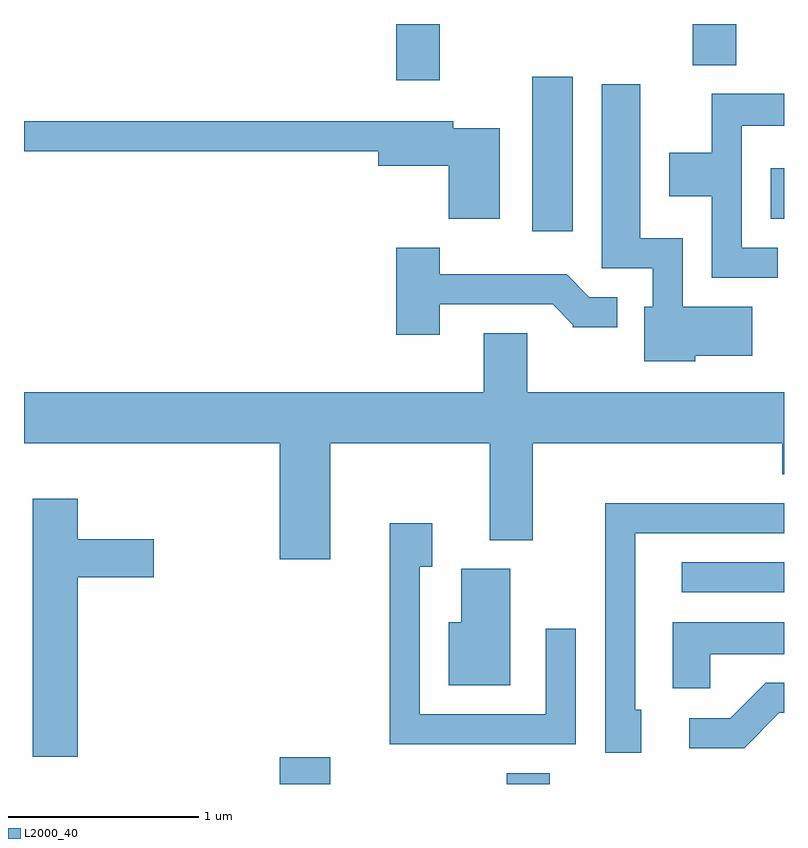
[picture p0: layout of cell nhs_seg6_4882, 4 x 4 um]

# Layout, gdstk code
import gdstk
lib = gdstk.Library(unit=1e-6, precision=1e-09)
def R(c, l, rs):  # rectangles x0, y0, x1, y1
    for r in rs: c.add(gdstk.rectangle(r[:2], r[2:], *l))
def P(c, l, *ps):  # polygons
    for p in ps: c.add(gdstk.Polygon(p, *l))
L2000_40 = (2000, 40)

nhs_seg6_4882 = lib.new_cell('nhs_seg6_4882')
R(nhs_seg6_4882, L2000_40, [(334.956,1628.162,335.224,1628.304), (336.151,1628.162,336.379,1628.219), (337.073,1629.171,337.611,1629.329), (336.286,1631.071,336.499,1631.884), (337.541,1631.136,337.611,1631.404), (335.571,1631.866,335.799,1632.162), (337.131,1631.946,337.359,1632.162)])
P(nhs_seg6_4882, L2000_40, [(337.144,1630.416),(337.444,1630.416),(337.444,1630.674),(337.079,1630.674),(337.079,1631.034),(336.854,1631.034),(336.854,1631.844),(336.651,1631.844),(336.651,1630.876),(336.921,1630.876),(336.921,1630.674),(336.876,1630.674),(336.876,1630.386),(337.144,1630.386)],
  [(337.578,1630.984),(337.389,1630.984),(337.389,1631.626),(337.611,1631.626),(337.611,1631.794),(337.231,1631.794),(337.231,1631.484),(337.006,1631.484),(337.006,1631.256),(337.231,1631.256),(337.231,1630.826),(337.578,1630.826)],
  [(336.114,1631.614),(335.869,1631.614),(335.869,1631.649),(333.611,1631.649),(333.611,1631.491),(335.476,1631.491),(335.476,1631.416),(335.846,1631.416),(335.846,1631.136),(336.114,1631.136)],
  [(335.799,1630.686),(336.394,1630.686),(336.5,1630.58),(336.5,1630.566),(336.733,1630.566),(336.733,1630.724),(336.587,1630.724),(336.467,1630.844),(335.799,1630.844),(335.799,1630.984),(335.571,1630.984),(335.571,1630.526),(335.799,1630.526)],
  [(335.224,1629.956),(336.061,1629.956),(336.061,1629.446),(336.289,1629.446),(336.289,1629.956),(337.601,1629.956),(337.601,1629.791),(337.611,1629.791),(337.611,1630.224),(336.259,1630.224),(336.259,1630.534),(336.031,1630.534),(336.031,1630.224),(333.611,1630.224),(333.611,1629.956),(334.956,1629.956),(334.956,1629.346),(335.224,1629.346)],
  [(333.894,1629.251),(334.294,1629.251),(334.294,1629.449),(333.894,1629.449),(333.894,1629.664),(333.656,1629.664),(333.656,1628.306),(333.894,1628.306)],
  [(336.859,1628.554),(336.829,1628.554),(336.829,1629.481),(337.611,1629.481),(337.611,1629.639),(336.671,1629.639),(336.671,1628.326),(336.859,1628.326)],
  [(336.514,1628.978),(336.356,1628.978),(336.356,1628.529),(335.694,1628.529),(335.694,1629.306),(335.759,1629.306),(335.759,1629.534),(335.536,1629.534),(335.536,1628.371),(336.514,1628.371)],
  [(336.169,1629.294),(335.911,1629.294),(335.911,1629.014),(335.846,1629.014),(335.846,1628.681),(336.169,1628.681)],
  [(337.224,1628.846),(337.611,1628.846),(337.611,1629.014),(337.026,1629.014),(337.026,1628.666),(337.224,1628.666)],
  [(337.587,1628.536),(337.611,1628.536),(337.611,1628.694),(337.514,1628.694),(337.329,1628.509),(337.113,1628.509),(337.113,1628.351),(337.402,1628.351)])

lib.write_gds('nhs_seg6_4882.gds')
